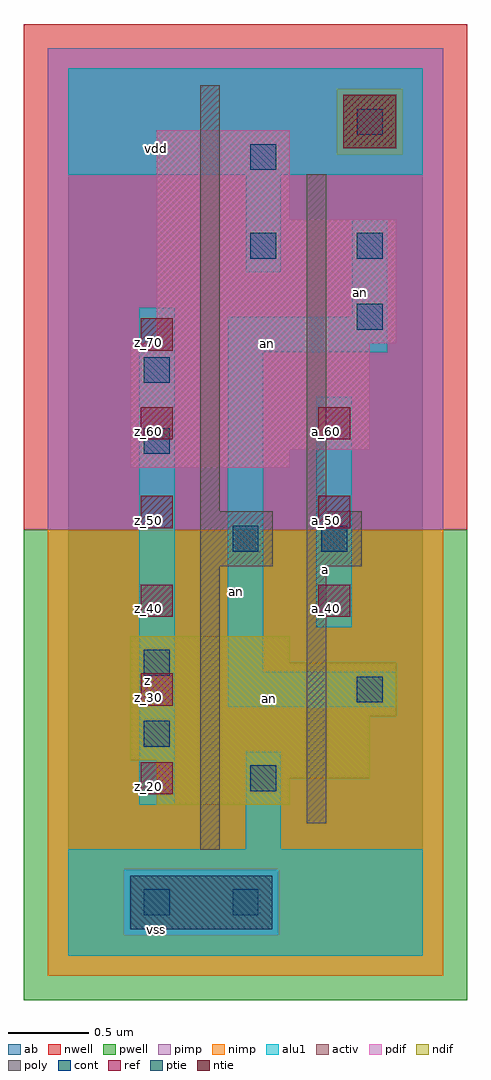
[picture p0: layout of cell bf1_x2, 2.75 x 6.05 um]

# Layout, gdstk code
import gdstk
lib = gdstk.Library(unit=1e-6, precision=2.5e-09)
def R(c, l, rs):  # rectangles x0, y0, x1, y1
    for r in rs: c.add(gdstk.rectangle(r[:2], r[2:], *l))
def A(c, l, x, y, w, h, nx, ny, dx, dy):  # array of equal rectangles
    R(c, l, [(x+i*dx, y+j*dy, x+i*dx+w, y+j*dy+h) for i in range(nx) for j in range(ny)])
ndif = (3, 0)
pdif = (4, 0)
ntie = (5, 0)
ptie = (6, 0)
ref = (24, 0)
cont = (25, 0)
pwell = (41, 0)
nwell = (42, 0)
activ = (43, 0)
pimp = (44, 0)
nimp = (45, 0)
poly = (46, 0)
alu1 = (49, 0)
ab = (63, 0)

bf1_x2 = lib.new_cell('bf1_x2')
R(bf1_x2, ndif, [(0.55,0.935,1.375,1.1), (0.55,1.1,1.87,1.21), (0.385,1.21,1.87,1.485), (0.385,1.485,2.035,1.815), (0.385,1.815,1.375,1.98)])
R(bf1_x2, pdif, [(0.385,3.025,1.375,3.135), (0.385,3.135,1.87,3.795), (0.55,3.795,2.035,4.565), (0.55,4.565,1.375,5.115)])
R(bf1_x2, ntie, [(1.705,5.005,2.035,5.335)])
R(bf1_x2, ptie, [(0.385,0.165,1.265,0.495)])
A(bf1_x2, ref, 0.45, 1, 0.2, 0.2, 1, 6, 0, 0.55)
A(bf1_x2, ref, 1.55, 2.1, 0.2, 0.2, 1, 3, 0, 0.55)
R(bf1_x2, cont, [(0.47,0.25,0.63,0.41), (1.02,0.25,1.18,0.41), (1.13,1.02,1.29,1.18), (0.47,1.295,0.63,1.455), (1.79,1.57,1.95,1.73), (0.47,1.735,0.63,1.895), (1.02,2.505,1.18,2.665), (1.57,2.505,1.73,2.665), (0.47,3.11,0.63,3.27), (0.47,3.55,0.63,3.71), (1.79,3.88,1.95,4.04), (1.13,4.32,1.29,4.48), (1.79,4.32,1.95,4.48), (1.13,4.87,1.29,5.03), (1.79,5.09,1.95,5.25)])
R(bf1_x2, pwell, [(-0.275,-0.275,2.475,2.64)])
R(bf1_x2, nwell, [(-0.275,2.64,2.475,5.775)])
R(bf1_x2, activ, [(0.385,0.165,1.265,0.495), (0.55,0.935,1.375,1.1), (0.55,1.1,1.87,1.21), (0.385,1.21,1.87,1.485), (0.385,1.485,2.035,1.815), (0.385,1.815,1.375,1.98), (0.385,3.025,1.375,3.135), (0.385,3.135,1.87,3.795), (0.55,3.795,2.035,4.565), (0.55,4.565,1.375,5.115), (1.705,5.005,2.035,5.335)])
R(bf1_x2, pimp, [(0.345,0.125,1.305,0.535), (-0.125,2.64,2.325,4.965), (-0.125,4.965,1.665,5.375), (2.075,4.965,2.325,5.375), (-0.125,5.375,2.325,5.625)])
R(bf1_x2, nimp, [(-0.125,-0.125,2.325,0.125), (-0.125,0.125,0.345,0.535), (1.305,0.125,2.325,0.535), (-0.125,0.535,2.325,2.64), (1.665,4.965,2.075,5.375)])
R(bf1_x2, poly, [(0.82,0.655,0.94,2.415), (1.48,0.82,1.6,2.415), (0.82,2.415,1.27,2.755), (1.48,2.415,1.82,2.755), (0.82,2.755,0.94,5.395), (1.48,2.755,1.6,4.845)])
R(bf1_x2, alu1, [(0,0,2.2,0.66), (1.1,0.66,1.32,1.265), (0.44,0.935,0.66,4.015), (0.99,1.54,2.035,1.76), (0.99,1.76,1.21,3.74), (1.54,2.035,1.76,3.465), (0.99,3.74,1.98,3.96), (1.76,3.96,1.98,4.565), (1.1,4.235,1.32,4.84), (0,4.84,2.2,5.5)])
R(bf1_x2, ab, [(0,0,2.2,5.5)])
bf1_x2.add(gdstk.Label('vss', (0.55,0.165), layer=49, texttype=0))
bf1_x2.add(gdstk.Label('an', (1.25,1.595), layer=49, texttype=0))
bf1_x2.add(gdstk.Label('a', (1.595,2.3925), layer=49, texttype=0))
bf1_x2.add(gdstk.Label('an', (1.045,2.255), layer=49, texttype=0))
bf1_x2.add(gdstk.Label('an', (1.2375,3.795), layer=49, texttype=0))
bf1_x2.add(gdstk.Label('an', (1.815,4.11), layer=49, texttype=0))
bf1_x2.add(gdstk.Label('z', (0.495,1.705), layer=49, texttype=0))
bf1_x2.add(gdstk.Label('vdd', (0.55,5.005), layer=49, texttype=0))
bf1_x2.add(gdstk.Label('z_30', (0.5,1.6), layer=24, texttype=0))
bf1_x2.add(gdstk.Label('z_70', (0.5,3.8), layer=24, texttype=0))
bf1_x2.add(gdstk.Label('z_60', (0.5,3.25), layer=24, texttype=0))
bf1_x2.add(gdstk.Label('z_40', (0.5,2.15), layer=24, texttype=0))
bf1_x2.add(gdstk.Label('z_50', (0.5,2.7), layer=24, texttype=0))
bf1_x2.add(gdstk.Label('a_40', (1.6,2.15), layer=24, texttype=0))
bf1_x2.add(gdstk.Label('a_60', (1.6,3.25), layer=24, texttype=0))
bf1_x2.add(gdstk.Label('a_50', (1.6,2.7), layer=24, texttype=0))
bf1_x2.add(gdstk.Label('z_20', (0.5,1.05), layer=24, texttype=0))

lib.write_gds('bf1_x2.gds')
